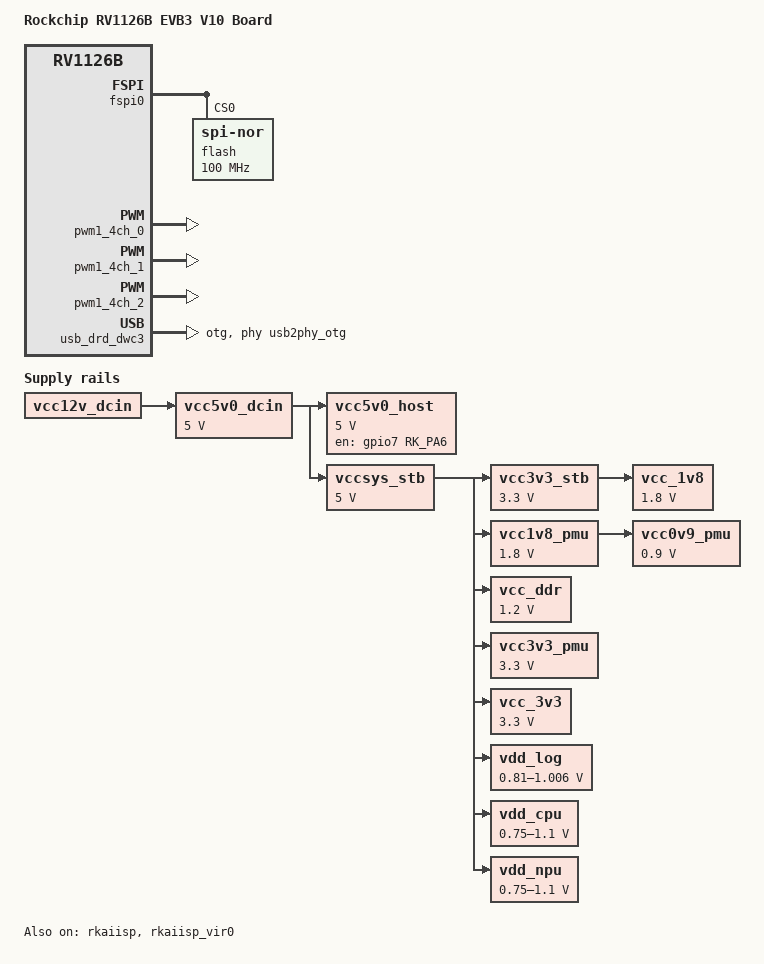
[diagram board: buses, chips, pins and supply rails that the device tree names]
// SPDX-License-Identifier: (GPL-2.0+ OR MIT)
/*
 * Copyright (c) 2025 Rockchip Electronics Co., Ltd.
 */

/dts-v1/;
#include "rv1126b.dtsi"
#include "rv1126b-evb.dtsi"

/ {
	model = "Rockchip RV1126B EVB3 V10 Board";
	compatible = "rockchip,rv1126b-evb3-v10", "rockchip,rv1126b";

	vcc5v0_dcin: vcc5v0-dcin {
		compatible = "regulator-fixed";
		regulator-name = "vcc5v0_dcin";
		regulator-always-on;
		regulator-boot-on;
		regulator-min-microvolt = <5000000>;
		regulator-max-microvolt = <5000000>;
		vin-supply = <&vcc12v_dcin>;
	};

	vcc5v0_host: vcc5v0-host {
		compatible = "regulator-fixed";
		regulator-name = "vcc5v0_host";
		regulator-boot-on;
		regulator-always-on;
		regulator-min-microvolt = <5000000>;
		regulator-max-microvolt = <5000000>;
		enable-active-high;
		gpio = <&gpio7 RK_PA6 GPIO_ACTIVE_HIGH>;
		vin-supply = <&vcc5v0_dcin>;
		pinctrl-names = "default";
		pinctrl-0 = <&vcc5v0_host_en>;
	};

	vccsys_stb: vccsys-stb {
		compatible = "regulator-fixed";
		regulator-name = "vccsys_stb";
		regulator-always-on;
		regulator-boot-on;
		regulator-min-microvolt = <5000000>;
		regulator-max-microvolt = <5000000>;
		vin-supply = <&vcc5v0_dcin>;
	};

	vcc3v3_stb: vcc3v3-stb {
		compatible = "regulator-fixed";
		regulator-name = "vcc3v3_stb";
		regulator-always-on;
		regulator-boot-on;
		regulator-min-microvolt = <3300000>;
		regulator-max-microvolt = <3300000>;
		vin-supply = <&vccsys_stb>;
	};

	vcc1v8_pmu: vdd1_1v8_ddr: vcc1v8_pmu {
		compatible = "regulator-fixed";
		regulator-name = "vcc3v3_stb";
		regulator-always-on;
		regulator-boot-on;
		regulator-min-microvolt = <1800000>;
		regulator-max-microvolt = <1800000>;
		vin-supply = <&vccsys_stb>;
	};

	vcc_ddr: vcc_ddr {
		compatible = "regulator-fixed";
		regulator-name = "vcc_ddr";
		regulator-always-on;
		regulator-boot-on;
		regulator-min-microvolt = <1200000>;
		regulator-max-microvolt = <1200000>;
		vin-supply = <&vccsys_stb>;
	};

	vcc3v3_pmu: vcc3v3-pmu {
		compatible = "regulator-fixed";
		regulator-name = "vcc3v3_pmu";
		regulator-always-on;
		regulator-boot-on;
		regulator-min-microvolt = <3300000>;
		regulator-max-microvolt = <3300000>;
		vin-supply = <&vccsys_stb>;
	};

	vcc0v9_pmu: vcc0v9-pmu {
		compatible = "regulator-fixed";
		regulator-name = "vcc0v9_pmu";
		regulator-always-on;
		regulator-boot-on;
		regulator-min-microvolt = <900000>;
		regulator-max-microvolt = <900000>;
		vin-supply = <&vcc1v8_pmu>;
	};

	vcc_1v8: vcc-1v8 {
		compatible = "regulator-fixed";
		regulator-name = "vcc_1v8";
		regulator-always-on;
		regulator-boot-on;
		regulator-min-microvolt = <1800000>;
		regulator-max-microvolt = <1800000>;
		vin-supply = <&vcc3v3_stb>;
	};

	vcc_3v3: vcc3v3_dev: vcc-3v3 {
		compatible = "regulator-fixed";
		regulator-name = "vcc_3v3";
		regulator-always-on;
		regulator-boot-on;
		regulator-min-microvolt = <3300000>;
		regulator-max-microvolt = <3300000>;
		vin-supply = <&vccsys_stb>;
	};

	vdd_log: vdd-log {
		compatible = "pwm-regulator";
		pwms = <&pwm1_4ch_2 0 25000 1>;
		regulator-name = "vdd_log";
		regulator-init-microvolt = <905000>;
		regulator-min-microvolt = <810000>;
		regulator-max-microvolt = <1006000>;
		regulator-always-on;
		regulator-boot-on;
		pwm-supply = <&vccsys_stb>;
		status = "okay";
	};

	vdd_cpu: vdd-cpu {
		compatible = "pwm-regulator";
		pwms = <&pwm1_4ch_0 0 25000 1>;
		regulator-name = "vdd_cpu";
		regulator-init-microvolt = <950000>;
		regulator-min-microvolt = <750000>;
		regulator-max-microvolt = <1100000>;
		regulator-always-on;
		regulator-boot-on;
		pwm-supply = <&vccsys_stb>;
		status = "okay";
	};

	vdd_npu: vdd-npu {
		compatible = "pwm-regulator";
		pwms = <&pwm1_4ch_1 0 25000 1>;
		regulator-name = "vdd_cpu";
		regulator-init-microvolt = <950000>;
		regulator-min-microvolt = <750000>;
		regulator-max-microvolt = <1100000>;
		regulator-always-on;
		regulator-boot-on;
		pwm-supply = <&vccsys_stb>;
		status = "okay";
	};
};

&cpu0 {
	cpu-supply = <&vdd_cpu>;
};

&fspi0 {
	status = "okay";

	flash@0 {
		compatible = "jedec,spi-nor";
		reg = <0>;
		spi-max-frequency = <100000000>;
		spi-rx-bus-width = <4>;
		spi-tx-bus-width = <1>;
	};
};

&rkaiisp {
	status = "okay";
};

&rkaiisp_mmu {
	status = "okay";
};

&rkaiisp_vir0 {
	status = "okay";
};

&rknpu {
	rknpu-supply = <&vdd_npu>;
};

&pinctrl {
	usb {
		vcc5v0_host_en: vcc5v0-host-en {
			rockchip,pins = <7 RK_PA6 RK_FUNC_GPIO &pcfg_pull_none>;
		};
	};
};

&pwm1_4ch_0 {
	pinctrl-0 = <&pwm1m2_ch0_pins>;
	status = "okay";
};

&pwm1_4ch_1 {
	pinctrl-0 = <&pwm1m2_ch1_pins>;
	status = "okay";
};

&pwm1_4ch_2 {
	pinctrl-0 = <&pwm1m2_ch2_pins>;
	status = "okay";
};

&usb2phy_host {
	phy-supply = <&vcc5v0_host>;
};

&usb3phy {
	status = "disabled";
};

&usb_drd_dwc3 {
	dr_mode = "otg";
	extcon = <&usb2phy>;
	maximum-speed = "high-speed";
	phys = <&usb2phy_otg>;
	phy-names = "usb2-phy";
	snps,dis_u2_susphy_quirk;
	snps,usb2-lpm-disable;
};
